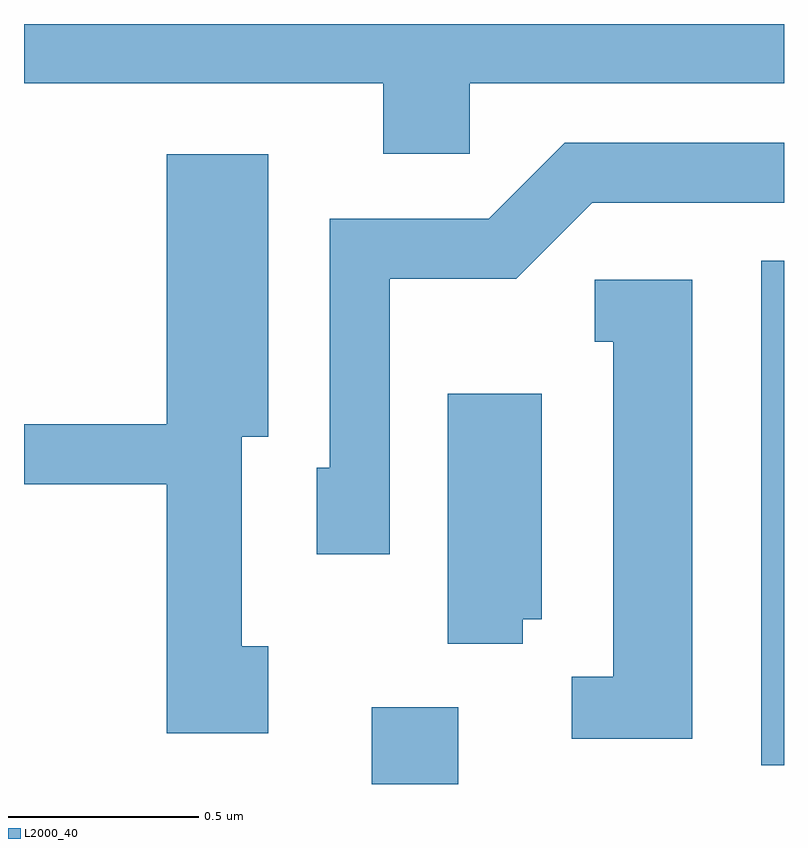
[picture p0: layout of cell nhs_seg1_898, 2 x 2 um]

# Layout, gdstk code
import gdstk
lib = gdstk.Library(unit=1e-6, precision=1e-09)
def R(c, l, rs):  # rectangles x0, y0, x1, y1
    for r in rs: c.add(gdstk.rectangle(r[:2], r[2:], *l))
def P(c, l, *ps):  # polygons
    for p in ps: c.add(gdstk.Polygon(p, *l))
L2000_40 = (2000, 40)

nhs_seg1_898 = lib.new_cell('nhs_seg1_898')
R(nhs_seg1_898, L2000_40, [(192.526,917.712,192.754,917.914), (193.551,917.761,193.611,919.089)])
P(nhs_seg1_898, L2000_40, [(192.784,919.556),(193.611,919.556),(193.611,919.712),(191.611,919.712),(191.611,919.556),(192.556,919.556),(192.556,919.371),(192.784,919.371)],
  [(192.574,919.041),(192.907,919.041),(193.107,919.241),(193.611,919.241),(193.611,919.399),(193.034,919.399),(192.834,919.199),(192.416,919.199),(192.416,918.544),(192.381,918.544),(192.381,918.316),(192.574,918.316)],
  [(192.254,918.074),(192.184,918.074),(192.184,918.626),(192.254,918.626),(192.254,919.369),(191.986,919.369),(191.986,918.659),(191.611,918.659),(191.611,918.501),(191.986,918.501),(191.986,917.846),(192.254,917.846)],
  [(193.369,919.039),(193.113,919.039),(193.113,918.876),(193.161,918.876),(193.161,917.994),(193.053,917.994),(193.053,917.831),(193.369,917.831)],
  [(192.924,918.146),(192.974,918.146),(192.974,918.739),(192.726,918.739),(192.726,918.081),(192.924,918.081)])

lib.write_gds('nhs_seg1_898.gds')
